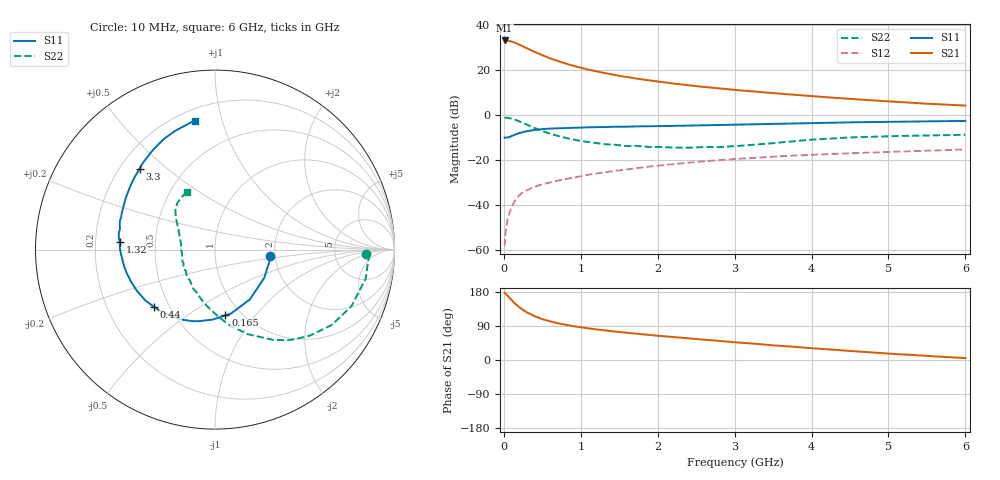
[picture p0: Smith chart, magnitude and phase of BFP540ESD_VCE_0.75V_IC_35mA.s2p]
! Infineon Technologies  Discrete & RF Semiconductors
! BFP540ESD
! VCE = 0.75 V,  IC =  35 mA
! Common Emitter S-Parameters:  Nov 2015
# GHz  S  MA  R  50
!  f  S11  S21  S12  S22
! GHz  MAG  ANG  MAG  ANG  MAG  ANG  MAG  ANG
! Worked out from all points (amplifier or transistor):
!   210 points, 10 MHz to 6 GHz, reference 50 ohm
!   highest |S21| = 33.0 dB at 10 MHz (marker M1)
!   |S21| within 3 dB of that: start of sweep to 271.2 MHz
!   unconditionally stable (mu >= 1): start of sweep to 25.63 MHz; 1.416 GHz to end of sweep
!   at 185 MHz: K = 0.38, MSG = 33.9 dB, |S12| = -36.5 dB
!   at 1.52 GHz: K = 1.02, MAG = 20.0 dB, |S12| = -24.6 dB
!   at 6 GHz: K = 1.14, MAG = 7.4 dB, |S12| = -15.4 dB
!   S11 on the Smith chart (normalised r, x): 10 MHz: 1.88, -0.14; 165 MHz: 0.84, -0.72; 440 MHz: 0.41, -0.34; 1.32 GHz: 0.31, +0.04; 3.3 GHz: 0.28, +0.41; 6 GHz: 0.27, +0.82
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0.01  0.3088 -6.4  44.68 177.9  0.0012 132.6  0.8409 -1.8
0.05  0.3162 -29.7  44.19 168.8  0.0047 84.2  0.8548 -10.9
0.1  0.3389 -55.0  42.39 157.8  0.0087 77.3  0.8232 -22.5
0.15  0.3674 -76.0  39.49 147.7  0.0128 70.5  0.7743 -32.8
0.165  0.3711 -81.0  38.44 145.3  0.0138 69.3  0.7541 -35.5
0.2  0.3902 -92.0  36.27 139.2  0.016 67.0  0.7137 -42.2
0.26  0.4179 -107.5  32.31 130.5  0.0195 63.1  0.6451 -51.5
0.3  0.4339 -116.1  29.94 125.4  0.0209 60.5  0.6006 -57.0
0.4  0.4595 -131.9  24.79 115.4  0.0251 58.2  0.5074 -68.5
0.44  0.4654 -136.7  23.2 112.6  0.0265 57.3  0.4767 -72.1
0.5  0.4801 -143.5  20.94 107.7  0.0285 56.0  0.4348 -78.3
0.56  0.486 -148.8  19.08 104.4  0.0301 56.4  0.4009 -82.8
0.7  0.5003 -158.8  15.62 97.0  0.0344 55.7  0.3383 -93.5
0.8  0.5085 -164.7  13.72 92.8  0.037 56.0  0.3069 -100.8
1.02  0.5205 -174.7  10.85 85.8  0.0438 55.7  0.2579 -114.1
1.32  0.5319 175.5  8.376 78.0  0.053 54.9  0.2206 -130.3
2.02  0.5588 158.0  5.384 63.7  0.0741 51.4  0.1924 -160.2
3.1  0.6057 136.7  3.446 45.4  0.1062 42.3  0.2058 161.7
3.3  0.6161 133.0  3.224 42.3  0.1118 40.2  0.2186 156.0
4.1  0.6584 120.5  2.515 29.8  0.1308 32.2  0.2854 139.9
5.1  0.6995 107.7  1.934 15.8  0.1508 22.6  0.3357 127.7
6  0.7282 99.0  1.598 5.0  0.1692 15.5  0.3586 116.1
